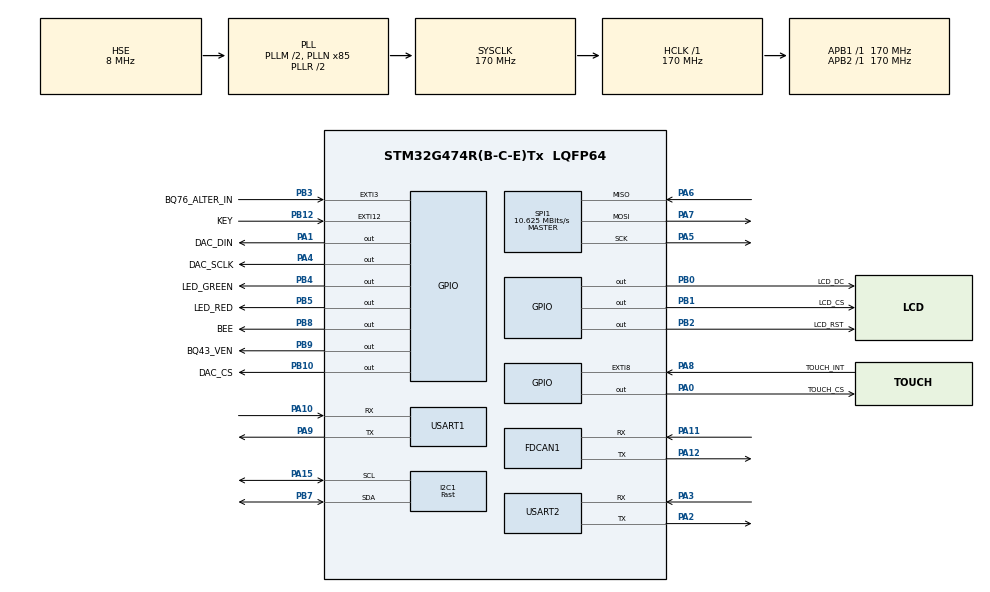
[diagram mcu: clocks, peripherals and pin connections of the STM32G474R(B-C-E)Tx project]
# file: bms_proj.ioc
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FDCAN1.AutoRetransmission=ENABLE
FDCAN1.CalculateBaudRateNominal=3333333
FDCAN1.CalculateTimeBitNominal=300
FDCAN1.CalculateTimeQuantumNominal=100.0
FDCAN1.DataTimeSeg1=13
FDCAN1.DataTimeSeg2=2
FDCAN1.NominalPrescaler=17
FDCAN1.ProtocolException=ENABLE
I2C1.I2C_Fall_Time=10
I2C1.I2C_Speed_Mode=I2C_Fast
I2C1.Timing=0x60400D28
Mcu.Family=STM32G4
Mcu.Name=STM32G474R(B-C-E)Tx
Mcu.Package=LQFP64
NVIC.EXTI15_10_IRQn=true\:0\:0\:true\:false\:true\:true\:true\:true
NVIC.EXTI3_IRQn=true\:2\:0\:true\:false\:true\:true\:true\:true
NVIC.EXTI9_5_IRQn=true\:8\:0\:true\:false\:true\:true\:true\:true
NVIC.PriorityGroup=NVIC_PRIORITYGROUP_4
NVIC.SPI1_IRQn=true\:10\:0\:true\:false\:true\:true\:true\:true
NVIC.TIM6_DAC_IRQn=true\:5\:0\:true\:false\:true\:true\:true\:true
NVIC.USART2_IRQn=true\:7\:0\:true\:false\:true\:true\:true\:true
PA0.GPIO_Label=TOUCH_CS
PA0.GPIO_PuPd=GPIO_NOPULL
PA0.GPIO_Speed=GPIO_SPEED_FREQ_HIGH
PA0.PinState=GPIO_PIN_SET
PA0.Signal=GPIO_Output
PA1.GPIO_Label=DAC_DIN
PA1.GPIO_Speed=GPIO_SPEED_FREQ_HIGH
PA1.Signal=GPIO_Output
PA10.Mode=Asynchronous
PA10.Signal=USART1_RX
PA11.GPIO_Mode=GPIO_MODE_AF_PP
PA11.GPIO_PuPd=GPIO_NOPULL
PA11.GPIO_Speed=GPIO_SPEED_FREQ_VERY_HIGH
PA11.Mode=FDCAN_Activate
PA11.Signal=FDCAN1_RX
PA12.GPIO_Mode=GPIO_MODE_AF_PP
PA12.GPIO_PuPd=GPIO_NOPULL
PA12.GPIO_Speed=GPIO_SPEED_FREQ_VERY_HIGH
PA12.Mode=FDCAN_Activate
PA12.Signal=FDCAN1_TX
PA13.Mode=Serial_Wire
PA13.Signal=SYS_JTMS-SWDIO
PA14.Mode=Serial_Wire
PA14.Signal=SYS_JTCK-SWCLK
PA15.GPIO_Mode=GPIO_MODE_AF_OD
PA15.GPIO_Pu=GPIO_NOPULL
PA15.GPIO_Speed=GPIO_SPEED_FREQ_MEDIUM
PA15.Mode=I2C
PA15.Signal=I2C1_SCL
PA2.GPIO_ModeDefaultPP=GPIO_MODE_AF_PP
PA2.GPIO_PuPd=GPIO_NOPULL
PA2.GPIO_Speed=GPIO_SPEED_FREQ_VERY_HIGH
PA2.Mode=Asynchronous
PA2.Signal=USART2_TX
PA3.GPIO_ModeDefaultPP=GPIO_MODE_AF_PP
PA3.GPIO_PuPd=GPIO_NOPULL
PA3.GPIO_Speed=GPIO_SPEED_FREQ_VERY_HIGH
PA3.Mode=Asynchronous
PA3.Signal=USART2_RX
PA4.GPIO_Label=DAC_SCLK
PA4.GPIO_Speed=GPIO_SPEED_FREQ_HIGH
PA4.Signal=GPIO_Output
PA5.GPIO_Mode=GPIO_MODE_AF_PP
PA5.GPIO_PuPd=GPIO_NOPULL
PA5.GPIO_Speed=GPIO_SPEED_FREQ_VERY_HIGH
PA5.Mode=Full_Duplex_Master
PA5.Signal=SPI1_SCK
PA6.GPIO_Mode=GPIO_MODE_AF_PP
PA6.GPIO_PuPd=GPIO_NOPULL
PA6.GPIO_Speed=GPIO_SPEED_FREQ_VERY_HIGH
PA6.Mode=Full_Duplex_Master
PA6.Signal=SPI1_MISO
PA7.GPIO_Mode=GPIO_MODE_AF_PP
PA7.GPIO_PuPd=GPIO_NOPULL
PA7.GPIO_Speed=GPIO_SPEED_FREQ_VERY_HIGH
PA7.Mode=Full_Duplex_Master
PA7.Signal=SPI1_MOSI
PA8.GPIO_Label=TOUCH_INT
PA8.GPIO_ModeDefaultEXTI=GPIO_MODE_IT_FALLING
PA8.GPIO_PuPd=GPIO_PULLUP
PA8.Signal=GPXTI8
PA9.Mode=Asynchronous
PA9.Signal=USART1_TX
PB0.GPIO_Label=LCD_DC
PB0.GPIO_ModeDefaultOutputPP=GPIO_MODE_OUTPUT_PP
PB0.GPIO_PuPd=GPIO_NOPULL
PB0.GPIO_Speed=GPIO_SPEED_FREQ_HIGH
PB0.PinState=GPIO_PIN_SET
PB0.Signal=GPIO_Output
PB1.GPIO_Label=LCD_CS
PB1.GPIO_ModeDefaultOutputPP=GPIO_MODE_OUTPUT_PP
PB1.GPIO_PuPd=GPIO_NOPULL
PB1.GPIO_Speed=GPIO_SPEED_FREQ_HIGH
PB1.PinState=GPIO_PIN_SET
PB1.Signal=GPIO_Output
PB10.GPIO_Label=DAC_CS
PB10.GPIO_Speed=GPIO_SPEED_FREQ_HIGH
PB10.PinState=GPIO_PIN_SET
PB10.Signal=GPIO_Output
PB12.GPIO_Label=KEY
PB12.GPIO_ModeDefaultEXTI=GPIO_MODE_IT_FALLING
PB12.GPIO_PuPd=GPIO_PULLUP
PB12.Signal=GPXTI12
PB2.GPIO_Label=LCD_RST
PB2.GPIO_ModeDefaultOutputPP=GPIO_MODE_OUTPUT_PP
PB2.GPIO_PuPd=GPIO_NOPULL
PB2.GPIO_Speed=GPIO_SPEED_FREQ_HIGH
PB2.PinState=GPIO_PIN_SET
PB2.Signal=GPIO_Output
PB3.GPIO_Label=BQ76_ALTER_IN
PB3.GPIO_PuPd=GPIO_PULLDOWN
PB3.Signal=GPXTI3
PB4.GPIO_Label=LED_GREEN
PB4.GPIO_ModeDefaultOutputPP=GPIO_MODE_OUTPUT_PP
PB4.GPIO_PuPd=GPIO_NOPULL
PB4.GPIO_Speed=GPIO_SPEED_FREQ_LOW
PB4.PinState=GPIO_PIN_RESET
PB4.Signal=GPIO_Output
PB5.GPIO_Label=LED_RED
PB5.GPIO_ModeDefaultOutputPP=GPIO_MODE_OUTPUT_PP
PB5.GPIO_PuPd=GPIO_NOPULL
PB5.GPIO_Speed=GPIO_SPEED_FREQ_LOW
PB5.PinState=GPIO_PIN_RESET
PB5.Signal=GPIO_Output
PB7.GPIO_Mode=GPIO_MODE_AF_OD
PB7.GPIO_Pu=GPIO_NOPULL
PB7.GPIO_Speed=GPIO_SPEED_FREQ_MEDIUM
PB7.Mode=I2C
PB7.Signal=I2C1_SDA
PB8-BOOT0.GPIO_Label=BEE
PB8-BOOT0.Signal=GPIO_Output
PB9.GPIO_Label=BQ43_VEN
PB9.PinState=GPIO_PIN_SET
PB9.Signal=GPIO_Output
PF0-OSC_IN.Mode=HSE-External-Oscillator
PF0-OSC_IN.Signal=RCC_OSC_IN
PF1-OSC_OUT.Mode=HSE-External-Oscillator
PF1-OSC_OUT.Signal=RCC_OSC_OUT
ProjectManager.HeapSize=0x200
ProjectManager.StackSize=0x400
ProjectManager.TargetToolchain=CMake
RCC.ADC12Freq_Value=170000000
RCC.ADC345Freq_Value=170000000
RCC.AHBFreq_Value=170000000
RCC.APB1Freq_Value=170000000
RCC.APB1TimFreq_Value=170000000
RCC.APB2Freq_Value=170000000
RCC.APB2TimFreq_Value=170000000
RCC.CortexFreq_Value=170000000
RCC.EXTERNAL_CLOCK_VALUE=12288000
RCC.HCLKFreq_Value=170000000
RCC.HSE_VALUE=8000000
RCC.HSI48_VALUE=48000000
RCC.HSI_VALUE=16000000
RCC.LSE_VALUE=32768
RCC.PLLM=RCC_PLLM_DIV2
RCC.PLLN=85
RCC.PLLSourceVirtual=RCC_PLLSOURCE_HSE
RCC.SYSCLKFreq_VALUE=170000000
RCC.SYSCLKSource=RCC_SYSCLKSOURCE_PLLCLK
RCC.USBFreq_Value=170000000
RCC.VCOOutputFreq_Value=340000000
SPI1.BaudRatePrescaler=SPI_BAUDRATEPRESCALER_16
SPI1.CalculateBaudRate=10.625 MBits/s
SPI1.DataSize=SPI_DATASIZE_8BIT
SPI1.Direction=SPI_DIRECTION_2LINES
SPI1.Mode=SPI_MODE_MASTER
SPI1.VirtualType=VM_MASTER
TIM4.AutoReloadPreload=TIM_AUTORELOAD_PRELOAD_ENABLE
TIM4.PeriodNoDither=416
TIM4.Prescaler=169
USART1.VirtualMode-Asynchronous=VM_ASYNC
USART2.VirtualMode-Asynchronous=VM_ASYNC
VP_SYS_VS_DBSignals.Mode=DisableDeadBatterySignals
VP_TIM4_VS_ClockSourceINT.Mode=Internal
VP_TIM6_VS_ClockSourceINT.Mode=Enable_Timer
board=custom

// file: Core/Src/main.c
/* USER CODE BEGIN Header */
/**
  ******************************************************************************
  * @file           : main.c
  * @brief          : Main program body
  ******************************************************************************
  * @attention
  *
  * Copyright (c) 2026 STMicroelectronics.
  * All rights reserved.
  *
  * This software is licensed under terms that can be found in the LICENSE file
  * in the root directory of this software component.
  * If no LICENSE file comes with this software, it is provided AS-IS.
  *
  ******************************************************************************
  */
/* USER CODE END Header */
#include "main.h"
#include "fdcan.h"
#include "i2c.h"
#include "spi.h"
#include "tim.h"
#include "usart.h"
#include "gpio.h"

/* USER CODE BEGIN Includes */
#include "my_main.h"
#include <string.h>
/* USER CODE END Includes */

void SystemClock_Config(void);

int main(void)
{

  /* MCU Configuration--------------------------------------------------------*/

  /* Reset of all peripherals, Initializes the Flash interface and the Systick. */
  HAL_Init();

  /* Configure the system clock */
  SystemClock_Config();

  /* Initialize all configured peripherals */
  MX_GPIO_Init();
  MX_FDCAN1_Init();
  MX_SPI1_Init();
  MX_USART2_UART_Init();
  MX_TIM4_Init();
  MX_TIM6_Init();
  MX_I2C1_Init();
  MX_USART1_UART_Init();
  /* USER CODE BEGIN 2 */

  /* ====== 最基础硬件测试: 在 set_up 之前先验证 GPIO/UART 能用 ======
   * 如果这段代码能让 LED 闪 + 串口输出, 说明基础硬件没问题。
   * 如果连这个都不行, 说明 SystemClock_Config 或某个 MX_Init 失败了,
   * 程序卡在 Error_Handler 的 while(1) 里。 */
  {
      /* 直接操作 GPIO 寄存器, 不依赖 bsp_init */
      __HAL_RCC_GPIOB_CLK_ENABLE();

      GPIO_InitTypeDef gi = {0};
      gi.Pin   = GPIO_PIN_4 | GPIO_PIN_5;  /* PB4=LED_G, PB5=LED_R */
      gi.Mode  = GPIO_MODE_OUTPUT_PP;
      gi.Pull  = GPIO_NOPULL;
      gi.Speed = GPIO_SPEED_FREQ_LOW;
      HAL_GPIO_Init(GPIOB, &gi);

      /* 蜂鸣器 PB8 */
      gi.Pin = GPIO_PIN_8;
      HAL_GPIO_Init(GPIOB, &gi);

      /* LED 交替闪 3 轮 + 蜂鸣 → 证明到了这里 */
      for (int i = 0; i < 3; i++) {
          HAL_GPIO_WritePin(GPIOB, GPIO_PIN_4, GPIO_PIN_SET);   /* 绿亮 */
          HAL_Delay(200);
          HAL_GPIO_WritePin(GPIOB, GPIO_PIN_4, GPIO_PIN_RESET); /* 绿灭 */
          HAL_GPIO_WritePin(GPIOB, GPIO_PIN_5, GPIO_PIN_SET);   /* 红亮 */
          HAL_Delay(200);
          HAL_GPIO_WritePin(GPIOB, GPIO_PIN_5, GPIO_PIN_RESET); /* 红灭 */
      }
      /* 蜂鸣 3 短声 */
      for (int i = 0; i < 3; i++) {
          HAL_GPIO_WritePin(GPIOB, GPIO_PIN_8, GPIO_PIN_SET);
          HAL_Delay(50);
          HAL_GPIO_WritePin(GPIOB, GPIO_PIN_8, GPIO_PIN_RESET);
          HAL_Delay(100);
      }

      /* 串口测试: 直接发几个字节 */
      const char *msg = "[HW TEST] GPIO+UART OK\r\n";
      HAL_UART_Transmit(&huart2, (uint8_t*)msg, strlen(msg), 200);
  }
  /* ====== 基础测试结束, 进入正式流程 ====== */

  set_up();
  /* USER CODE END 2 */

  /* Infinite loop */
  while (1)
  {

    /* USER CODE BEGIN 3 */
    loop();
  }
  /* USER CODE END 3 */
}

void SystemClock_Config(void)
{
  RCC_OscInitTypeDef RCC_OscInitStruct = {0};
  RCC_ClkInitTypeDef RCC_ClkInitStruct = {0};

  /** Configure the main internal regulator output voltage
  */
  HAL_PWREx_ControlVoltageScaling(PWR_REGULATOR_VOLTAGE_SCALE1_BOOST);

  /** Initializes the RCC Oscillators according to the specified parameters
  * in the RCC_OscInitTypeDef structure.
  */
  RCC_OscInitStruct.OscillatorType = RCC_OSCILLATORTYPE_HSE;
  RCC_OscInitStruct.HSEState = RCC_HSE_ON;
  RCC_OscInitStruct.PLL.PLLState = RCC_PLL_ON;
  RCC_OscInitStruct.PLL.PLLSource = RCC_PLLSOURCE_HSE;
  RCC_OscInitStruct.PLL.PLLM = RCC_PLLM_DIV2;
  RCC_OscInitStruct.PLL.PLLN = 85;
  RCC_OscInitStruct.PLL.PLLP = RCC_PLLP_DIV2;
  RCC_OscInitStruct.PLL.PLLQ = RCC_PLLQ_DIV2;
  RCC_OscInitStruct.PLL.PLLR = RCC_PLLR_DIV2;
  if (HAL_RCC_OscConfig(&RCC_OscInitStruct) != HAL_OK)
  {
    Error_Handler();
  }

  /** Initializes the CPU, AHB and APB buses clocks
  */
  RCC_ClkInitStruct.ClockType = RCC_CLOCKTYPE_HCLK|RCC_CLOCKTYPE_SYSCLK
                              |RCC_CLOCKTYPE_PCLK1|RCC_CLOCKTYPE_PCLK2;
  RCC_ClkInitStruct.SYSCLKSource = RCC_SYSCLKSOURCE_PLLCLK;
  RCC_ClkInitStruct.AHBCLKDivider = RCC_SYSCLK_DIV1;
  RCC_ClkInitStruct.APB1CLKDivider = RCC_HCLK_DIV1;
  RCC_ClkInitStruct.APB2CLKDivider = RCC_HCLK_DIV1;

  if (HAL_RCC_ClockConfig(&RCC_ClkInitStruct, FLASH_LATENCY_4) != HAL_OK)
  {
    Error_Handler();
  }
}

void Error_Handler(void)
{
  /* USER CODE BEGIN Error_Handler_Debug */
  /* 红灯快闪 = 某个 MX_Init 或 SystemClock 失败了 */
  __HAL_RCC_GPIOB_CLK_ENABLE();
  GPIO_InitTypeDef egi = {0};
  egi.Pin = GPIO_PIN_5; /* PB5 = LED_RED */
  egi.Mode = GPIO_MODE_OUTPUT_PP;
  HAL_GPIO_Init(GPIOB, &egi);
  while (1) {
      HAL_GPIO_TogglePin(GPIOB, GPIO_PIN_5);
      /* 不能用 HAL_Delay (如果 SysTick 没跑), 用忙等 */
      for (volatile uint32_t d = 0; d < 500000; d++) __NOP();
  }
  /* USER CODE END Error_Handler_Debug */
}
